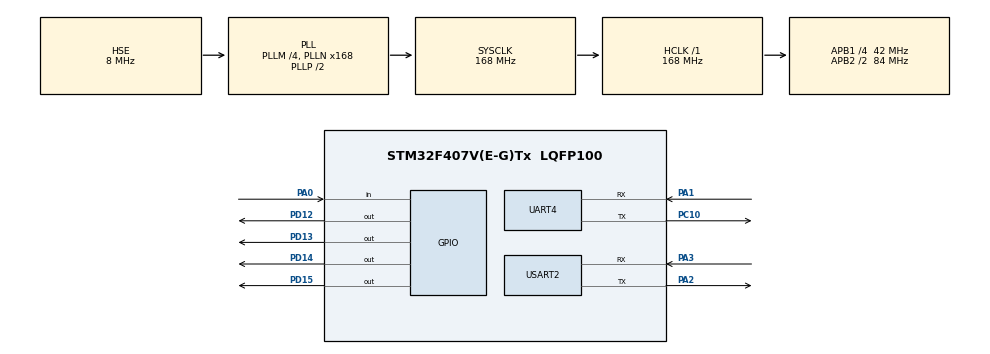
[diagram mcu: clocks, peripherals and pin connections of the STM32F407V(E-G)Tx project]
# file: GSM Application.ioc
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Mcu.Family=STM32F4
Mcu.Name=STM32F407V(E-G)Tx
Mcu.Package=LQFP100
NVIC.PriorityGroup=NVIC_PRIORITYGROUP_4
NVIC.UART4_IRQn=true\:0\:0\:false\:false\:true\:true
NVIC.USART2_IRQn=true\:0\:0\:false\:false\:true\:true
PA0-WKUP.Signal=GPIO_Input
PA1.Mode=Asynchronous
PA1.Signal=UART4_RX
PA2.Mode=Asynchronous
PA2.Signal=USART2_TX
PA3.Mode=Asynchronous
PA3.Signal=USART2_RX
PC10.Mode=Asynchronous
PC10.Signal=UART4_TX
PD12.Signal=GPIO_Output
PD13.Signal=GPIO_Output
PD14.Signal=GPIO_Output
PD15.Signal=GPIO_Output
PH0-OSC_IN.Mode=HSE-External-Oscillator
PH0-OSC_IN.Signal=RCC_OSC_IN
PH1-OSC_OUT.Mode=HSE-External-Oscillator
PH1-OSC_OUT.Signal=RCC_OSC_OUT
ProjectManager.HeapSize=0x200
ProjectManager.StackSize=0x400
ProjectManager.TargetToolchain=TrueSTUDIO
RCC.48MHZClocksFreq_Value=84000000
RCC.AHBFreq_Value=168000000
RCC.APB1CLKDivider=RCC_HCLK_DIV4
RCC.APB1Freq_Value=42000000
RCC.APB1TimFreq_Value=84000000
RCC.APB2CLKDivider=RCC_HCLK_DIV2
RCC.APB2Freq_Value=84000000
RCC.APB2TimFreq_Value=168000000
RCC.CortexFreq_Value=168000000
RCC.HCLKFreq_Value=168000000
RCC.HSE_VALUE=8000000
RCC.HSI_VALUE=16000000
RCC.LSE_VALUE=32768
RCC.PLLM=4
RCC.PLLN=168
RCC.PLLSourceVirtual=RCC_PLLSOURCE_HSE
RCC.SYSCLKFreq_VALUE=168000000
RCC.SYSCLKSource=RCC_SYSCLKSOURCE_PLLCLK
RCC.VCOOutputFreq_Value=336000000
UART4.VirtualMode=Asynchronous
USART2.VirtualMode=VM_ASYNC
board=GSM Application

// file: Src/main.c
/**
  ******************************************************************************
  * File Name          : main.c
  * Description        : Main program body
  ******************************************************************************
  ** This notice applies to any and all portions of this file
  * that are not between comment pairs USER CODE BEGIN and
  * USER CODE END. Other portions of this file, whether
  * inserted by the user or by software development tools
  * are owned by their respective copyright owners.
  *
  * COPYRIGHT(c) 2019 STMicroelectronics
  *
  * Redistribution and use in source and binary forms, with or without modification,
  * are permitted provided that the following conditions are met:
  *   1. Redistributions of source code must retain the above copyright notice,
  *      this list of conditions and the following disclaimer.
  *   2. Redistributions in binary form must reproduce the above copyright notice,
  *      this list of conditions and the following disclaimer in the documentation
  *      and/or other materials provided with the distribution.
  *   3. Neither the name of STMicroelectronics nor the names of its contributors
  *      may be used to endorse or promote products derived from this software
  *      without specific prior written permission.
  *
  * THIS SOFTWARE IS PROVIDED BY THE COPYRIGHT HOLDERS AND CONTRIBUTORS "AS IS"
  * AND ANY EXPRESS OR IMPLIED WARRANTIES, INCLUDING, BUT NOT LIMITED TO, THE
  * IMPLIED WARRANTIES OF MERCHANTABILITY AND FITNESS FOR A PARTICULAR PURPOSE ARE
  * DISCLAIMED. IN NO EVENT SHALL THE COPYRIGHT HOLDER OR CONTRIBUTORS BE LIABLE
  * FOR ANY DIRECT, INDIRECT, INCIDENTAL, SPECIAL, EXEMPLARY, OR CONSEQUENTIAL
  * DAMAGES (INCLUDING, BUT NOT LIMITED TO, PROCUREMENT OF SUBSTITUTE GOODS OR
  * SERVICES; LOSS OF USE, DATA, OR PROFITS; OR BUSINESS INTERRUPTION) HOWEVER
  * CAUSED AND ON ANY THEORY OF LIABILITY, WHETHER IN CONTRACT, STRICT LIABILITY,
  * OR TORT (INCLUDING NEGLIGENCE OR OTHERWISE) ARISING IN ANY WAY OUT OF THE USE
  * OF THIS SOFTWARE, EVEN IF ADVISED OF THE POSSIBILITY OF SUCH DAMAGE.
  *
  ******************************************************************************
  */

#include "main.h"
#include "stm32f4xx_hal.h"

/* USER CODE BEGIN Includes */
#include "stdarg.h"
#include "string.h"
/* USER CODE END Includes */

UART_HandleTypeDef huart4;
UART_HandleTypeDef huart2;

/* USER CODE BEGIN PV */
/* Private variables ---------------------------------------------------------*/
uint8_t a_sysToGsm_u8[200];
uint8_t a_gsmToSys_u8[200];
volatile uint8_t v_counter_u8=0;
uint8_t v_choice_u8 = 0;
extern volatile uint8_t v_rec_count_u8;
/* USER CODE END PV */

void SystemClock_Config(void);
static void MX_GPIO_Init(void);
static void MX_USART2_UART_Init(void);
static void MX_UART4_Init(void);

/* USER CODE BEGIN PFP */
/* Private function prototypes -----------------------------------------------*/

/* USER CODE END PFP */

/* USER CODE BEGIN 0 */
#define MAX_UART_BUFFER_SIZE 256
char printBuffer[MAX_UART_BUFFER_SIZE];

void GSM_UART_Printf(const char *argList, ...)
{
	va_list marker;
	va_start(marker, argList);
	vsnprintf(printBuffer, MAX_UART_BUFFER_SIZE, argList, marker);
	va_end(marker);

   HAL_UART_Transmit(&huart2,printBuffer,strlen(printBuffer),100);
  // HAL_UART_Transmit(&huart4,printBuffer,strlen(printBuffer),100);
}

void SYS_UART_Printf(const char *argList, ...)
{
	va_list marker;
	va_start(marker, argList);
	vsnprintf(printBuffer, MAX_UART_BUFFER_SIZE, argList, marker);
	va_end(marker);

   HAL_UART_Transmit(&huart4,printBuffer,strlen(printBuffer),100);
}
/* USER CODE END 0 */

int main(void)
{

  /* USER CODE BEGIN 1 */
uint8_t v_toggle_u8=1;
uint8_t v_numFlag_u8=0;
uint8_t v_msgFlag_u8=0;
uint8_t v_start_u8=1;
  /* USER CODE END 1 */

  /* MCU Configuration----------------------------------------------------------*/

  /* Reset of all peripherals, Initializes the Flash interface and the Systick. */
  HAL_Init();

  /* Configure the system clock */
  SystemClock_Config();

  /* Initialize all configured peripherals */
  MX_GPIO_Init();
  MX_USART2_UART_Init();
  MX_UART4_Init();

  /* USER CODE BEGIN 2 */
  SET_BIT(huart2.Instance->CR1, USART_CR1_PEIE | USART_CR1_RXNEIE);
  SET_BIT(huart4.Instance->CR1, USART_CR1_PEIE | USART_CR1_RXNEIE);
  /* USER CODE END 2 */

  /* Infinite loop */
  while (1)
  {

  /* USER CODE BEGIN 3 */
	  //HAL_UART_Transmit(&huart2,"AT\r\n",4,100);

	  if(v_start_u8)
	  { v_toggle_u8=1;
         SYS_UART_Printf("\n   GSM MODULE MENU \n 1. SEND MESSAGE \n 2. RECEIVE MESSAGE\n 3.Make A Call");
         v_start_u8=0;
	   //GSM_UART_Printf("AT+CMGF=1\r\n");
	  //HAL_Delay(200);
	  }

	  if(v_counter_u8 == 1 && v_toggle_u8==1)
	  {
		  v_choice_u8 = a_sysToGsm_u8[0];

		  SYS_UART_Printf("%s",a_gsmToSys_u8);

	  }

	  if(v_choice_u8 == '1')
	  {
		  if(v_toggle_u8)
		  {

			  SYS_UART_Printf("\nenter the number\n");
			  v_numFlag_u8=1;
			  v_toggle_u8=0;

		  }
		  if(v_counter_u8 == 2 && v_numFlag_u8==1)
		  {
				  GSM_UART_Printf("AT+CMGS=\"91");
				  GSM_UART_Printf("%s",a_sysToGsm_u8);
				  GSM_UART_Printf("\"\r\n");

				  SYS_UART_Printf("%s",a_gsmToSys_u8);
				  SYS_UART_Printf("\n Enter the message\n");
				  v_numFlag_u8=0;
				  v_msgFlag_u8=1;
		  }
		  if(v_counter_u8==3 && v_msgFlag_u8==1)
			{
				  GSM_UART_Printf("%s\r\n%c",a_sysToGsm_u8,26);
				  HAL_Delay(2000);
				  SYS_UART_Printf("%s",a_gsmToSys_u8);
				  v_msgFlag_u8=0;
				  v_start_u8=1;
				  v_counter_u8=0;
				  v_choice_u8='0';
				}
	  }
	  if(v_choice_u8 == '2' && v_toggle_u8 == 1)
	  {
		  v_toggle_u8=0;
		  GSM_UART_Printf("AT+CMGR=1\r\n");
		  HAL_Delay(2000);
		  //a_gsmToSys_u8[rec_count]='\0';
		  SYS_UART_Printf("%s",a_gsmToSys_u8);
		  v_start_u8=1;
		  v_counter_u8=0;
		  v_choice_u8='0';
	  }
	  if(v_choice_u8==3 && v_toggle_u8 == 1)
	  {
		  if(v_toggle_u8)
		  {

			  SYS_UART_Printf("\nenter the number\n");
			  v_numFlag_u8=1;
			  v_toggle_u8=0;

		  }
		  if(v_counter_u8==2 && v_numFlag_u8==1)
		  {
			  GSM_UART_Printf("ATD+91");
			  GSM_UART_Printf("%s",a_sysToGsm_u8);
			  GSM_UART_Printf(";");
			  v_numFlag_u8=0;
			  v_start_u8=1;
			  v_counter_u8=0;
			  v_choice_u8='0';

		  }
	  }

  }
  /* USER CODE END 3 */

}

/** System Clock Configuration
*/
void SystemClock_Config(void)
{

  RCC_OscInitTypeDef RCC_OscInitStruct;
  RCC_ClkInitTypeDef RCC_ClkInitStruct;

    /**Configure the main internal regulator output voltage
    */
  __HAL_RCC_PWR_CLK_ENABLE();

  __HAL_PWR_VOLTAGESCALING_CONFIG(PWR_REGULATOR_VOLTAGE_SCALE1);

    /**Initializes the CPU, AHB and APB busses clocks
    */
  RCC_OscInitStruct.OscillatorType = RCC_OSCILLATORTYPE_HSE;
  RCC_OscInitStruct.HSEState = RCC_HSE_ON;
  RCC_OscInitStruct.PLL.PLLState = RCC_PLL_ON;
  RCC_OscInitStruct.PLL.PLLSource = RCC_PLLSOURCE_HSE;
  RCC_OscInitStruct.PLL.PLLM = 4;
  RCC_OscInitStruct.PLL.PLLN = 168;
  RCC_OscInitStruct.PLL.PLLP = RCC_PLLP_DIV2;
  RCC_OscInitStruct.PLL.PLLQ = 4;
  if (HAL_RCC_OscConfig(&RCC_OscInitStruct) != HAL_OK)
  {
    _Error_Handler(__FILE__, __LINE__);
  }

    /**Initializes the CPU, AHB and APB busses clocks
    */
  RCC_ClkInitStruct.ClockType = RCC_CLOCKTYPE_HCLK|RCC_CLOCKTYPE_SYSCLK
                              |RCC_CLOCKTYPE_PCLK1|RCC_CLOCKTYPE_PCLK2;
  RCC_ClkInitStruct.SYSCLKSource = RCC_SYSCLKSOURCE_PLLCLK;
  RCC_ClkInitStruct.AHBCLKDivider = RCC_SYSCLK_DIV1;
  RCC_ClkInitStruct.APB1CLKDivider = RCC_HCLK_DIV4;
  RCC_ClkInitStruct.APB2CLKDivider = RCC_HCLK_DIV2;

  if (HAL_RCC_ClockConfig(&RCC_ClkInitStruct, FLASH_LATENCY_5) != HAL_OK)
  {
    _Error_Handler(__FILE__, __LINE__);
  }

    /**Configure the Systick interrupt time
    */
  HAL_SYSTICK_Config(HAL_RCC_GetHCLKFreq()/1000);

    /**Configure the Systick
    */
  HAL_SYSTICK_CLKSourceConfig(SYSTICK_CLKSOURCE_HCLK);

  /* SysTick_IRQn interrupt configuration */
  HAL_NVIC_SetPriority(SysTick_IRQn, 0, 0);
}

/* UART4 init function */
static void MX_UART4_Init(void)
{

  huart4.Instance = UART4;
  huart4.Init.BaudRate = 115200;
  huart4.Init.WordLength = UART_WORDLENGTH_8B;
  huart4.Init.StopBits = UART_STOPBITS_1;
  huart4.Init.Parity = UART_PARITY_NONE;
  huart4.Init.Mode = UART_MODE_TX_RX;
  huart4.Init.HwFlowCtl = UART_HWCONTROL_NONE;
  huart4.Init.OverSampling = UART_OVERSAMPLING_16;
  if (HAL_UART_Init(&huart4) != HAL_OK)
  {
    _Error_Handler(__FILE__, __LINE__);
  }

}

/* USART2 init function */
static void MX_USART2_UART_Init(void)
{

  huart2.Instance = USART2;
  huart2.Init.BaudRate = 115200;
  huart2.Init.WordLength = UART_WORDLENGTH_8B;
  huart2.Init.StopBits = UART_STOPBITS_1;
  huart2.Init.Parity = UART_PARITY_NONE;
  huart2.Init.Mode = UART_MODE_TX_RX;
  huart2.Init.HwFlowCtl = UART_HWCONTROL_NONE;
  huart2.Init.OverSampling = UART_OVERSAMPLING_16;
  if (HAL_UART_Init(&huart2) != HAL_OK)
  {
    _Error_Handler(__FILE__, __LINE__);
  }

}

/** Configure pins as
        * Analog
        * Input
        * Output
        * EVENT_OUT
        * EXTI
*/
static void MX_GPIO_Init(void)
{

  GPIO_InitTypeDef GPIO_InitStruct;

  /* GPIO Ports Clock Enable */
  __HAL_RCC_GPIOH_CLK_ENABLE();
  __HAL_RCC_GPIOA_CLK_ENABLE();
  __HAL_RCC_GPIOD_CLK_ENABLE();
  __HAL_RCC_GPIOC_CLK_ENABLE();

  /*Configure GPIO pin Output Level */
  HAL_GPIO_WritePin(GPIOD, GPIO_PIN_12|GPIO_PIN_13|GPIO_PIN_14|GPIO_PIN_15, GPIO_PIN_RESET);

  /*Configure GPIO pin : PA0 */
  GPIO_InitStruct.Pin = GPIO_PIN_0;
  GPIO_InitStruct.Mode = GPIO_MODE_INPUT;
  GPIO_InitStruct.Pull = GPIO_NOPULL;
  HAL_GPIO_Init(GPIOA, &GPIO_InitStruct);

  /*Configure GPIO pins : PD12 PD13 PD14 PD15 */
  GPIO_InitStruct.Pin = GPIO_PIN_12|GPIO_PIN_13|GPIO_PIN_14|GPIO_PIN_15;
  GPIO_InitStruct.Mode = GPIO_MODE_OUTPUT_PP;
  GPIO_InitStruct.Pull = GPIO_NOPULL;
  GPIO_InitStruct.Speed = GPIO_SPEED_FREQ_LOW;
  HAL_GPIO_Init(GPIOD, &GPIO_InitStruct);

}

void _Error_Handler(char * file, int line)
{
  while(1)
  {
  }
}

/************************ (C) COPYRIGHT STMicroelectronics *****END OF FILE****/
